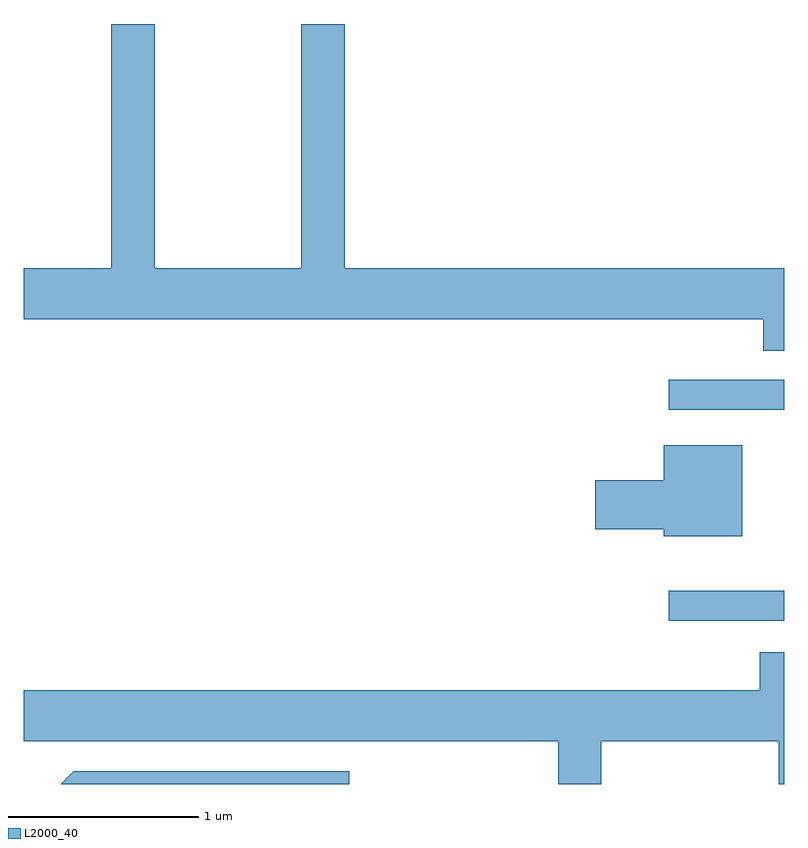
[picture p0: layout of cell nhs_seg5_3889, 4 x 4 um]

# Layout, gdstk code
import gdstk
lib = gdstk.Library(unit=1e-6, precision=1e-09)
def R(c, l, rs):  # rectangles x0, y0, x1, y1
    for r in rs: c.add(gdstk.rectangle(r[:2], r[2:], *l))
def P(c, l, *ps):  # polygons
    for p in ps: c.add(gdstk.Polygon(p, *l))
L2000_40 = (2000, 40)

nhs_seg5_3889 = lib.new_cell('nhs_seg5_3889')
R(nhs_seg5_3889, L2000_40, [(303.003,1512.931,303.611,1513.089), (303.003,1514.041,303.611,1514.199)])
P(nhs_seg5_3889, L2000_40, [(303.611,1514.784),(301.299,1514.784),(301.299,1516.069),(301.071,1516.069),(301.071,1514.784),(300.299,1514.784),(300.299,1516.069),(300.071,1516.069),(300.071,1514.784),(299.611,1514.784),(299.611,1514.516),(303.501,1514.516),(303.501,1514.351),(303.611,1514.351)],
  [(303.389,1513.854),(302.976,1513.854),(302.976,1513.669),(302.616,1513.669),(302.616,1513.411),(302.976,1513.411),(302.976,1513.376),(303.389,1513.376)],
  [(302.649,1512.296),(303.581,1512.296),(303.581,1512.072),(303.611,1512.072),(303.611,1512.764),(303.481,1512.764),(303.481,1512.564),(299.611,1512.564),(299.611,1512.296),(302.421,1512.296),(302.421,1512.072),(302.649,1512.072)],
  [(301.324,1512.139),(299.874,1512.139),(299.807,1512.072),(301.324,1512.072)])

lib.write_gds('nhs_seg5_3889.gds')
